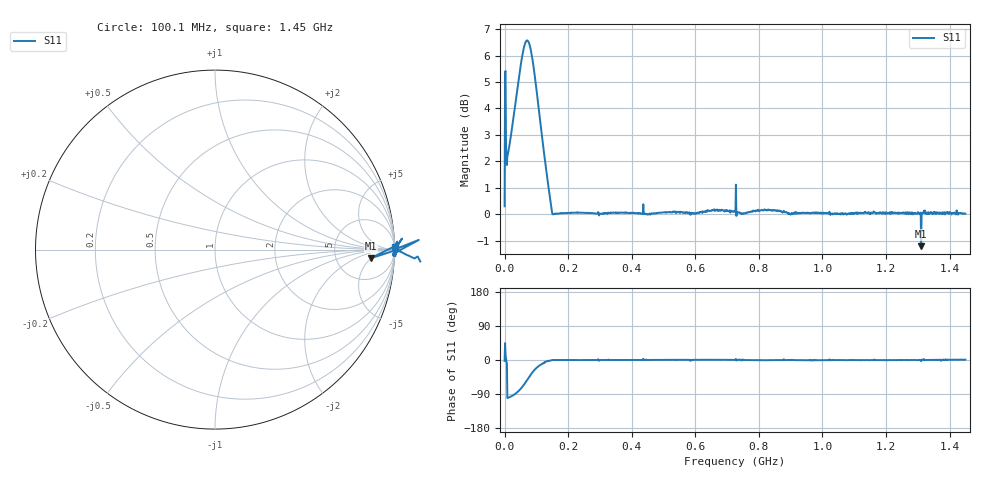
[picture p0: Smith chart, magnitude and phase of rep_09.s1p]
! Created with skrf 1.11.0 (http://scikit-rf.org).
# Hz S RI R 50.0
!freq ReS11 ImS11
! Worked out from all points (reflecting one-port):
!   1001 points, 50 kHz to 1.45 GHz, reference 50 ohm
!   lowest |S11| = -1.2 dB at 1.311 GHz (marker M1), VSWR 14.35, Z = 619 - j246 ohm
!   phase of S11 starts at -2 deg and turns +3 deg over the sweep
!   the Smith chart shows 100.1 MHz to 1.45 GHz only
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50000  1.034 -0.0417
8749700  -0.2345 -1.266
1.019965e7  -0.2248 -1.278
1.16496e7  -0.2158 -1.294
1.599945e7  -0.1845 -1.346
2.759905e7  -0.0711 -1.513
3.77487e7  0.1018 -1.678
4.64484e7  0.3227 -1.807
5.659805e7  0.6871 -1.886
6.529775e7  1.062 -1.823
7.54474e7  1.447 -1.545
8.269715e7  1.611 -1.256
8.99469e7  1.663 -0.9628
9.86466e7  1.623 -0.6593
1.073463e8  1.523 -0.4337
1.14596e8  1.426 -0.2967
1.276456e8  1.249 -0.1322
1.363453e8  1.144 -0.0662
1.508448e8  0.9993 -0.000337
1.812938e8  1.004 -0.00133
3.625375e8  1.005 0.000877
5.437812e8  1.009 0.00776
7.25025e8  1.01 0.00357
9.062688e8  1.003 -7.1e-05
1.087512e9  0.9996 -0.00316
1.268756e9  1.008 0.00219
1.310805e9  0.8684 -0.0483
1.45e9  1.002 0.0169
